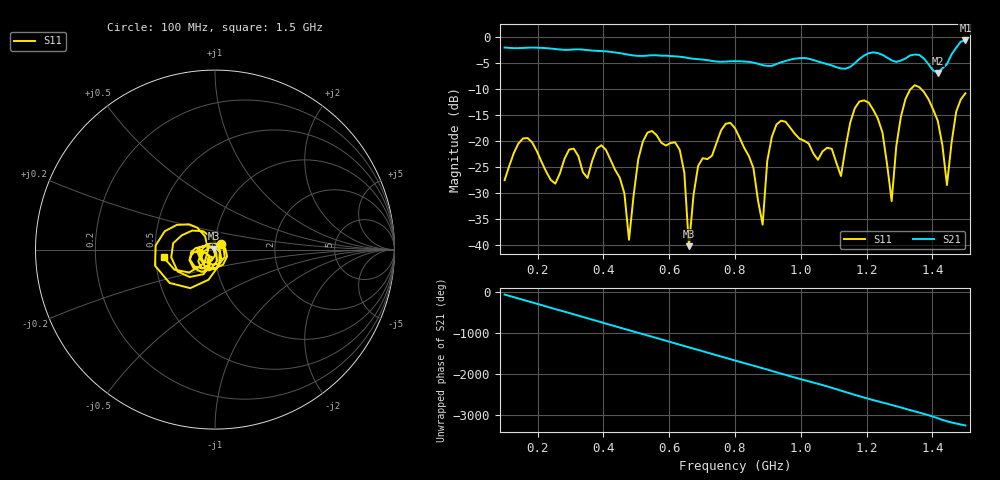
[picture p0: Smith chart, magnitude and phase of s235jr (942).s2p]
! NanoVNA-App
! Date: 2025-09-25 15:11:30
! Start: 100MHz Stop: 1,5GHz Points: 101
! S-Parameter data: F S11 S21 S12 S22
# Hz S RI R 50
!  Frequency  S11_Real  S11_Imag  S21_Real  S21_Imag  S12_Real  S12_Imag  S22_Real  S22_Imag
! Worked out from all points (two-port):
!   101 points, 100 MHz to 1.5 GHz, reference 50 ohm
!   highest |S21| = -0.61 dB at 1.5 GHz (marker M1); lowest = -6.9 dB at 1.416 GHz (marker M2)
!   |S21| within 3 dB of the highest: start of sweep to 603.1 MHz; 1.19 GHz to 1.254 GHz (63.87 MHz wide, 5.23 % of centre) (the widest 2 of 4)
!   lowest |S11| = -40.2 dB at 660 MHz (marker M3), VSWR 1.02, Z = 49.2 + j0.538 ohm
!   |S11| at or under -10 dB: start of sweep to 1.333 GHz; 1.366 GHz to end of sweep
!   S12 and S22 are empty: the file has one direction only
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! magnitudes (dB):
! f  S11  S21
! 100 MHz  -27.5  -2.0
! 156 MHz  -19.4  -2.1
! 338 MHz  -26.0  -2.4
! 408 MHz  -21.7  -2.7
! 478 MHz  -38.9  -3.4
! 520 MHz  -20.1  -3.6
! 576 MHz  -20.3  -3.5
! 632 MHz  -21.6  -3.7
! 660 MHz  -40.2  -4.0
! 688 MHz  -24.7  -4.2
! 800 MHz  -17.5  -4.6
! 884 MHz  -36.0  -5.4
! 926 MHz  -16.8  -5.1
! 1.038 GHz  -22.3  -4.4
! 1.122 GHz  -26.7  -6.0
! 1.164 GHz  -13.6  -5.0
! 1.206 GHz  -12.5  -3.1
! 1.276 GHz  -31.5  -4.4
! 1.332 GHz  -10.1  -3.5
! 1.416 GHz  -16.1  -6.9
! 1.444 GHz  -28.4  -5.2
! 1.5 GHz  -10.8  -0.6
